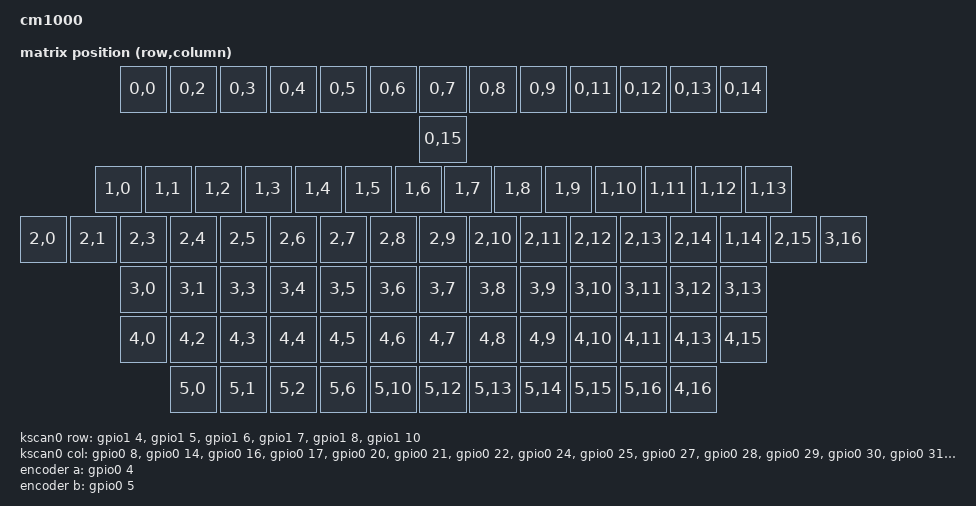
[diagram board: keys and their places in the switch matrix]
/dts-v1/;
#include <nordic/nrf52840_qiaa.dtsi>
#include <common/nordic/nrf52840_uf2_boot_mode.dtsi>
#include <dt-bindings/zmk/matrix_transform.h>
#include <dt-bindings/led/led.h>

#include "cm1000-pinctrl.dtsi"
#include "cm1000-layouts.dtsi"

/ {
    model = "cm1000";
    compatible = "cm1000", "nordic,nrf52840-qiaa", "nordic,nrf52840";

    chosen {
        zephyr,code-partition = &code_partition;
        zephyr,sram = &sram0;
        zephyr,flash = &flash0;
        zephyr,console = &uart0;
        zephyr,shell-uart = &uart0;
        zephyr,uart-mcumgr = &uart0;
	zmk,kscan = &kscan0;
        zmk,physical-layout = &default_layout;
        zmk,underglow = &led_strip;
	zmk,display = &nice_view;
        zephyr,display = &nice_view;
        zmk,battery = &max17048;
    };

    kscan0: kscan {
        compatible = "zmk,kscan-gpio-matrix";
        diode-direction = "col2row";
        wakeup-source;

        col-gpios
            = <&gpio0 8 GPIO_ACTIVE_HIGH>,
              <&gpio0 14 GPIO_ACTIVE_HIGH>,
              <&gpio0 16 GPIO_ACTIVE_HIGH>,
              <&gpio0 17 GPIO_ACTIVE_HIGH>,
              <&gpio0 20 GPIO_ACTIVE_HIGH>,
              <&gpio0 21 GPIO_ACTIVE_HIGH>,
              <&gpio0 22 GPIO_ACTIVE_HIGH>,
              <&gpio0 24 GPIO_ACTIVE_HIGH>,
              <&gpio0 25 GPIO_ACTIVE_HIGH>,
              <&gpio0 27 GPIO_ACTIVE_HIGH>,
              <&gpio0 28 GPIO_ACTIVE_HIGH>,
              <&gpio0 29 GPIO_ACTIVE_HIGH>,
              <&gpio0 30 GPIO_ACTIVE_HIGH>,
              <&gpio0 31 GPIO_ACTIVE_HIGH>,
              <&gpio1 1 GPIO_ACTIVE_HIGH>,
              <&gpio1 2 GPIO_ACTIVE_HIGH>,
              <&gpio1 3 GPIO_ACTIVE_HIGH>;

        row-gpios
            = <&gpio1 4 (GPIO_ACTIVE_HIGH | GPIO_PULL_DOWN)>,
              <&gpio1 5 (GPIO_ACTIVE_HIGH | GPIO_PULL_DOWN)>,
              <&gpio1 6 (GPIO_ACTIVE_HIGH | GPIO_PULL_DOWN)>,
              <&gpio1 7 (GPIO_ACTIVE_HIGH | GPIO_PULL_DOWN)>,
              <&gpio1 8 (GPIO_ACTIVE_HIGH | GPIO_PULL_DOWN)>,
              <&gpio1 10 (GPIO_ACTIVE_HIGH | GPIO_PULL_DOWN)>;
    };

    matrix_transform0: default_transform {
        compatible = "zmk,matrix-transform";
        columns = <17>;
        rows = <6>;

        map = <
            RC(0,0) RC(0,2) RC(0,3) RC(0,4) RC(0,5) RC(0,6) RC(0,7) RC(0,8) RC(0,9) RC(0,11) RC(0,12) RC(0,13) RC(0,14)
            																									   RC(0,15)
            RC(1,0) RC(1,1) RC(1,2) RC(1,3) RC(1,4) RC(1,5) RC(1,6) RC(1,7) RC(1,8) RC(1,9) RC(1,10) RC(1,11) RC(1,12) RC(1,13)  				  

             RC(2,0)  RC(2,1) RC(2,3) RC(2,4) RC(2,5) RC(2,6) RC(2,7) RC(2,8) RC(2,9) RC(2,10) RC(2,11) RC(2,12) RC(2,13) RC(2,14)        RC(1,14) RC(2,15) RC(3,16)

               RC(3,0)   RC(3,1) RC(3,3) RC(3,4) RC(3,5) RC(3,6) RC(3,7) RC(3,8) RC(3,9) RC(3,10) RC(3,11) RC(3,12)    RC(3,13)
           																							
           	 RC(4,0)	 RC(4,2) RC(4,3) RC(4,4) RC(4,5) RC(4,6) RC(4,7) RC(4,8) RC(4,9) RC(4,10) RC(4,11) 		RC(4,13)			           RC(4,15)
          
	    RC(5,0) RC(5,1) RC(5,2) 				RC(5,6)		 			 RC(5,10) RC(5,12) RC(5,13) RC(5,14) 		      RC(5,15) RC(5,16) RC(4,16)               
        >;
    };

    leds {
        compatible = "gpio-leds";
        blue_led: led_0 {
            gpios = <&gpio0 15 GPIO_ACTIVE_HIGH>;
        };
    };

    encoder: encoder {
        compatible = "alps,ec11";
        a-gpios = <&gpio0 4 (GPIO_ACTIVE_HIGH | GPIO_PULL_UP)>;
        b-gpios = <&gpio0 5 (GPIO_ACTIVE_HIGH | GPIO_PULL_UP)>;
        steps = <20>;
        status = "okay";
    };

    sensors {
        compatible = "zmk,keymap-sensors";
        sensors = <&encoder>;
        triggers-per-rotation = <20>;
    };

    charger_iset: charger-iset {
        compatible = "gpio-leds";
        iset_10k: iset_10k {
            gpios = <&gpio0 26 GPIO_ACTIVE_LOW>;
        };
        iset_3k9: iset_3k9 {
            gpios = <&gpio1 15 GPIO_ACTIVE_LOW>;
        };
    };
};

&spi3 {
    compatible = "nordic,nrf-spim";

    pinctrl-0 = <&spi3_default>;
    pinctrl-1 = <&spi3_sleep>;
    pinctrl-names = "default", "sleep";
    status = "okay";

    led_strip: ws2812@0 {
        compatible = "worldsemi,ws2812-spi";

        /* SPI */
        reg = <0>; /* ignored, but necessary for SPI bindings */
        spi-max-frequency = <4000000>;

        /* WS2812 */
        chain-length = <82>; /* LED strip length */
        spi-one-frame = <0x70>;
        spi-zero-frame = <0x40>;
        color-mapping = <LED_COLOR_ID_GREEN LED_COLOR_ID_RED LED_COLOR_ID_BLUE>;
    };
};

&spi1 {
    compatible = "nordic,nrf-spim";
    status = "okay";
    pinctrl-0 = <&spi1_default>;
    pinctrl-1 = <&spi1_sleep>;
    pinctrl-names = "default", "sleep";
    
    /* CS Pin: P1.13 */
    cs-gpios = <&gpio1 13 GPIO_ACTIVE_HIGH>;

    nice_view: ls011b7dh03@0 {
        compatible = "sharp,ls0xx";
        reg = <0>;
        spi-max-frequency = <2000000>;
        width = <160>;
        height = <68>;
        serial-vcom-inversion;
        serial-vcom-interval = <33>;
    };
};

&uart0 {
    compatible = "nordic,nrf-uarte";
    status = "okay";
    current-speed = <115200>;
    pinctrl-0 = <&uart0_default>;
    pinctrl-1 = <&uart0_sleep>;
    pinctrl-names = "default", "sleep";
};

&flash0 {
    partitions {
        compatible = "fixed-partitions";
        #address-cells = <1>;
        #size-cells = <1>;

        sd_partition: partition@0 {
            reg = <0x00000000 0x00001000>;
        };

        code_partition: partition@1000 {
            label = "image-0";
            reg = <0x00001000 0x000d3000>;
        };

        storage_partition: partition@d4000 {
            label = "Storage";
            reg = <0x000d4000 0x00020000>;
        };

        boot_partition: partition@f4000 {
            label = "Bootloader";
            reg = <0x000f4000 0x0000c000>;
        };
    };
};


&i2c0 {
    compatible = "nordic,nrf-twim";
    status = "okay";
    pinctrl-0 = <&i2c0_default>;
    pinctrl-1 = <&i2c0_sleep>;
    pinctrl-names = "default", "sleep";

    max17048: max17048@36 {
        compatible = "zmk,maxim-max17048";
        status = "okay";
        reg = <0x36>;
    };
};
&adc { status = "okay"; };
&gpiote { status = "okay"; };
&gpio0 { status = "okay"; };
&gpio1 { status = "okay"; };

zephyr_udc0: &usbd { status = "okay"; };





